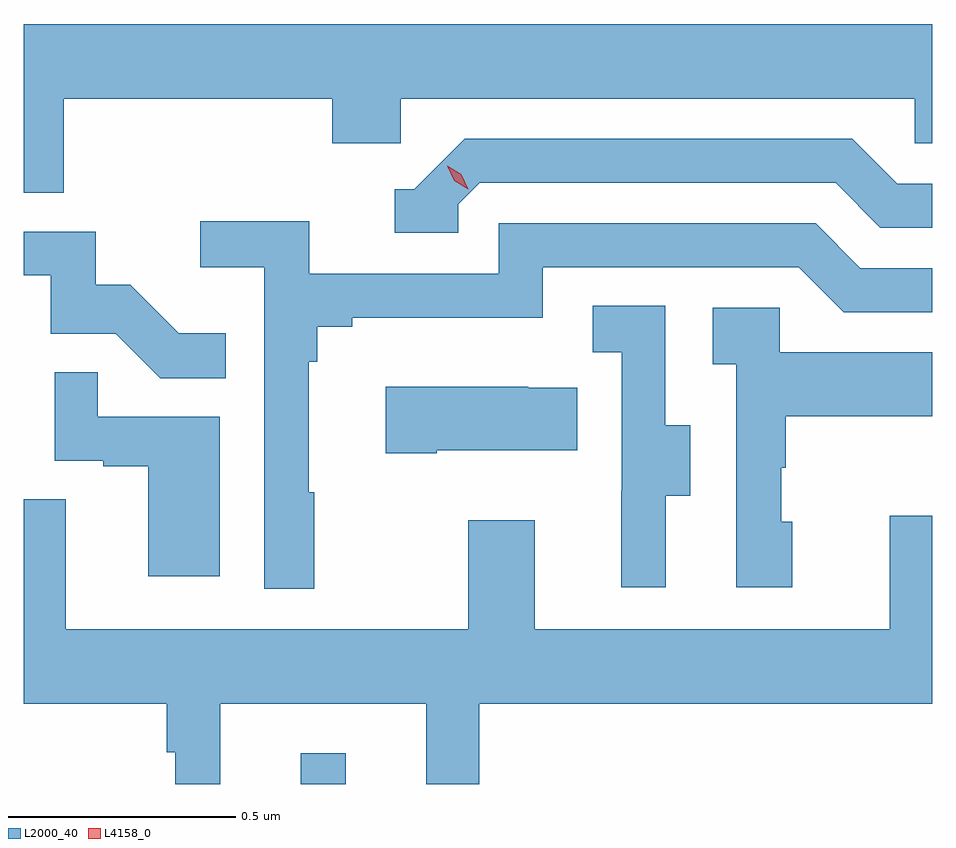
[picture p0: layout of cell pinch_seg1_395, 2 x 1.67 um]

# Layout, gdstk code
import gdstk
lib = gdstk.Library(unit=1e-6, precision=1e-09)
def R(c, l, rs):  # rectangles x0, y0, x1, y1
    for r in rs: c.add(gdstk.rectangle(r[:2], r[2:], *l))
def P(c, l, *ps):  # polygons
    for p in ps: c.add(gdstk.Polygon(p, *l))
L2000_40 = (2000, 40)
L4158_0 = (4158, 0)

pinch_seg1_395 = lib.new_cell('pinch_seg1_395')
R(pinch_seg1_395, L2000_40, [(994.628,528.911,994.727,528.979)])
P(pinch_seg1_395, L2000_40, [(994.106,530.42),(994.697,530.42),(994.697,530.322),(994.848,530.322),(994.848,530.42),(995.979,530.42),(995.979,530.322),(996.018,530.322),(996.018,530.584),(994.018,530.584),(994.018,530.212),(994.106,530.212)],
  [(994.974,530.187),(995.022,530.235),(995.805,530.235),(995.904,530.136),(996.018,530.136),(996.018,530.232),(995.941,530.232),(995.842,530.331),(994.989,530.331),(994.878,530.22),(994.835,530.22),(994.835,530.124),(994.974,530.124)],
  [(994.657,529.553),(994.645,529.553),(994.645,529.841),(994.664,529.841),(994.664,529.918),(994.741,529.918),(994.741,529.937),(995.16,529.937),(995.16,530.049),(995.724,530.049),(995.823,529.95),(996.018,529.95),(996.018,530.046),(995.86,530.046),(995.761,530.145),(995.064,530.145),(995.064,530.034),(994.646,530.034),(994.646,530.15),(994.407,530.15),(994.407,530.048),(994.548,530.048),(994.548,529.341),(994.657,529.341)],
  [(994.463,529.903),(994.359,529.903),(994.252,530.01),(994.176,530.01),(994.176,530.127),(994.018,530.127),(994.018,530.031),(994.077,530.031),(994.077,529.902),(994.221,529.902),(994.319,529.804),(994.463,529.804)],
  [(995.431,529.546),(995.485,529.546),(995.485,529.701),(995.43,529.701),(995.43,529.964),(995.271,529.964),(995.271,529.861),(995.334,529.861),(995.334,529.557),(995.333,529.557),(995.333,529.344),(995.431,529.344)],
  [(995.71,529.488),(995.685,529.488),(995.685,529.607),(995.695,529.607),(995.695,529.721),(996.018,529.721),(996.018,529.861),(995.682,529.861),(995.682,529.959),(995.535,529.959),(995.535,529.835),(995.586,529.835),(995.586,529.344),(995.71,529.344)],
  [(994.45,529.719),(994.181,529.719),(994.181,529.817),(994.086,529.817),(994.086,529.623),(994.193,529.623),(994.193,529.611),(994.292,529.611),(994.292,529.368),(994.45,529.368)],
  [(994.927,529.646),(995.237,529.646),(995.237,529.783),(995.129,529.783),(995.129,529.786),(994.815,529.786),(994.815,529.639),(994.927,529.639)],
  [(994.451,529.088),(994.904,529.088),(994.904,528.911),(995.021,528.911),(995.021,529.088),(996.018,529.088),(996.018,529.501),(995.924,529.501),(995.924,529.252),(995.143,529.252),(995.143,529.492),(994.996,529.492),(994.996,529.252),(994.111,529.252),(994.111,529.538),(994.018,529.538),(994.018,529.088),(994.333,529.088),(994.333,528.981),(994.352,528.981),(994.352,528.911),(994.451,528.911)])
P(pinch_seg1_395, L4158_0, [(994.996,530.22),(994.966,530.239),(994.95,530.272),(994.95,530.272),(994.95,530.272),(994.981,530.253),(994.997,530.22),(994.997,530.22)])

lib.write_gds('pinch_seg1_395.gds')
